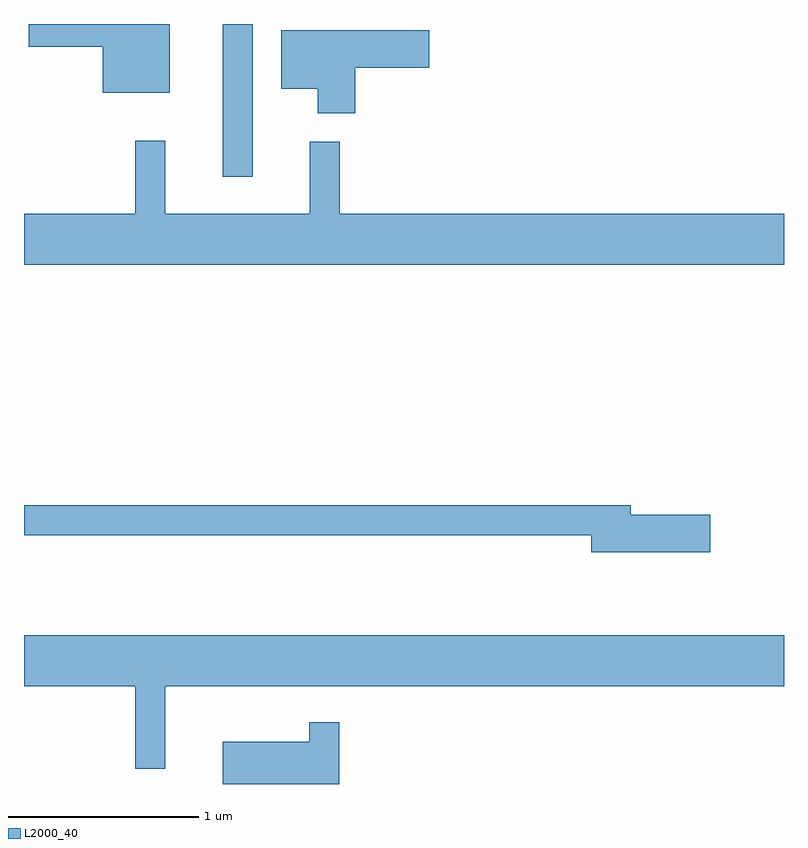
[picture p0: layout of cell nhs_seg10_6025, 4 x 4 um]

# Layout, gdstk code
import gdstk
lib = gdstk.Library(unit=1e-6, precision=1e-09)
def R(c, l, rs):  # rectangles x0, y0, x1, y1
    for r in rs: c.add(gdstk.rectangle(r[:2], r[2:], *l))
def P(c, l, *ps):  # polygons
    for p in ps: c.add(gdstk.Polygon(p, *l))
L2000_40 = (2000, 40)

nhs_seg10_6025 = lib.new_cell('nhs_seg10_6025')
R(nhs_seg10_6025, L2000_40, [(364.656,2107.718,364.814,2108.522)])
P(nhs_seg10_6025, L2000_40, [(364.379,2108.522),(363.636,2108.522),(363.636,2108.401),(364.026,2108.401),(364.026,2108.161),(364.379,2108.161)],
  [(365.354,2108.291),(365.744,2108.291),(365.744,2108.489),(364.966,2108.489),(364.966,2108.181),(365.156,2108.181),(365.156,2108.051),(365.354,2108.051)],
  [(367.611,2107.524),(365.274,2107.524),(365.274,2107.903),(365.116,2107.903),(365.116,2107.524),(364.354,2107.524),(364.354,2107.908),(364.196,2107.908),(364.196,2107.524),(363.611,2107.524),(363.611,2107.256),(367.611,2107.256)],
  [(367.224,2105.939),(366.804,2105.939),(366.804,2105.989),(363.611,2105.989),(363.611,2105.831),(366.596,2105.831),(366.596,2105.741),(367.224,2105.741)],
  [(364.354,2105.036),(367.611,2105.036),(367.611,2105.304),(363.611,2105.304),(363.611,2105.036),(364.196,2105.036),(364.196,2104.603),(364.354,2104.603)],
  [(365.269,2104.848),(365.111,2104.848),(365.111,2104.744),(364.656,2104.744),(364.656,2104.522),(365.269,2104.522)])

lib.write_gds('nhs_seg10_6025.gds')
